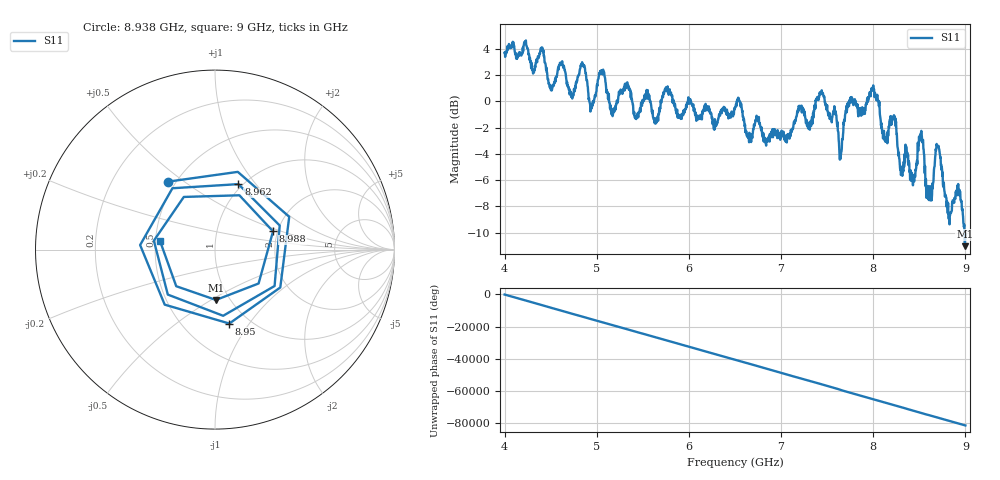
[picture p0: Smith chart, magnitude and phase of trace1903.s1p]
! Created with skrf 1.8.0 (http://scikit-rf.org).
# Hz S RI R 50.0
!freq ReS11 ImS11
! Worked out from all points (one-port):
!   1601 points, 4 GHz to 9 GHz, reference 50 ohm
!   lowest |S11| = -11.0 dB at 8.994 GHz (marker M1), VSWR 1.78, Z = 43.1 - j26.3 ohm
!   |S11| at or under -10 dB: 8.990148 GHz to end of sweep
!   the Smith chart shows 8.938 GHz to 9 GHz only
!   S11 on the Smith chart (normalised r, x): 8.938 GHz: 0.46, +0.44; 8.95 GHz: 0.81, -0.81; 8.962 GHz: 0.96, +0.82; 8.988 GHz: 1.89, +0.43; 9 GHz: 0.53, +0.06
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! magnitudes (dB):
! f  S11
! 4 GHz  3.7
! 4.625 GHz  3.1
! 4.731 GHz  0.4
! 4.85 GHz  2.8
! 4.944 GHz  -0.4
! 5.053 GHz  2.1
! 5.169 GHz  -1.0
! 5.25 GHz  0.6
! 5.875 GHz  -1.0
! 6.5 GHz  -0.5
! 7.125 GHz  -2.0
! 7.441 GHz  0.8
! 7.65 GHz  -4.0
! 7.75 GHz  0.3
! 8 GHz  1.2
! 8.122 GHz  -2.9
! 8.375 GHz  -4.3
! 8.434 GHz  -5.9
! 8.522 GHz  -2.2
! 8.622 GHz  -7.6
! 8.703 GHz  -3.5
! 8.822 GHz  -9.0
! 8.938 GHz  -6.8
! 8.95 GHz  -7.5
! 8.962 GHz  -8.2
! 8.988 GHz  -9.4
! 8.994 GHz  -11.0
! 9 GHz  -10.2
